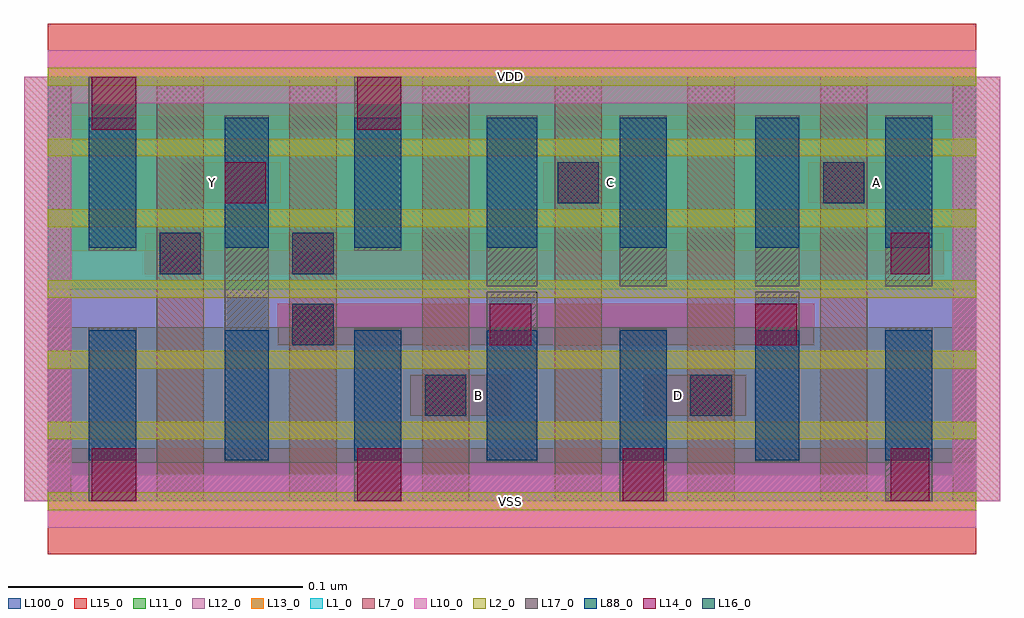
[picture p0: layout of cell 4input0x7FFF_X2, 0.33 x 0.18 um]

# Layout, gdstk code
import gdstk
lib = gdstk.Library(unit=1e-6, precision=1e-09)
def R(c, l, rs):  # rectangles x0, y0, x1, y1
    for r in rs: c.add(gdstk.rectangle(r[:2], r[2:], *l))
def A(c, l, x, y, w, h, nx, ny, dx, dy):  # array of equal rectangles
    R(c, l, [(x+i*dx, y+j*dy, x+i*dx+w, y+j*dy+h) for i in range(nx) for j in range(ny)])
def P(c, l, *ps):  # polygons
    for p in ps: c.add(gdstk.Polygon(p, *l))
L1_0 = (1, 0)
L2_0 = (2, 0)
L7_0 = (7, 0)
L10_0 = (10, 0)
L11_0 = (11, 0)
L12_0 = (12, 0)
L13_0 = (13, 0)
L14_0 = (14, 0)
L15_0 = (15, 0)
L16_0 = (16, 0)
L17_0 = (17, 0)
L88_0 = (88, 0)
L100_0 = (100, 0)

c_4input0x7fff_x2 = lib.new_cell('4input0x7FFF_X2')
R(c_4input0x7fff_x2, L1_0, [(0,0.072,0.315,0.144)])
A(c_4input0x7fff_x2, L2_0, 0, -0.003, 0.315, 0.006, 1, 7, 0, 0.024)
A(c_4input0x7fff_x2, L7_0, -0.008, 0, 0.016, 0.144, 8, 1, 0.045, 0)
P(c_4input0x7fff_x2, L10_0, [(0,-0.009),(0,0),(-0.008,0),(-0.008,0.135),(0.008,0.135),(0.008,0.009),(0.307,0.009),(0.307,0.135),(-0.008,0.135),(-0.008,0.144),(0,0.144),(0,0.153),(0.315,0.153),(0.315,0.144),(0.323,0.144),(0.323,0),(0.315,0),(0.315,-0.009)])
R(c_4input0x7fff_x2, L11_0, [(0,0.013,0.315,0.059), (0,0.085,0.315,0.131)])
R(c_4input0x7fff_x2, L12_0, [(0,0,0.315,0.072)])
R(c_4input0x7fff_x2, L13_0, [(0,0.072,0.315,0.144)])
R(c_4input0x7fff_x2, L14_0, [(0.015,0,0.03,0.018), (0.105,0,0.12,0.018), (0.195,0,0.209,0.018), (0.286,0,0.299,0.018), (0.128,0.029,0.142,0.043), (0.218,0.029,0.232,0.043), (0.083,0.053,0.097,0.067), (0.15,0.053,0.164,0.067), (0.24,0.053,0.254,0.067), (0.038,0.077,0.052,0.091), (0.083,0.077,0.097,0.091), (0.286,0.077,0.299,0.091), (0.06,0.101,0.074,0.115), (0.173,0.101,0.187,0.115), (0.263,0.101,0.277,0.115), (0.015,0.126,0.03,0.144), (0.105,0.126,0.12,0.144)])
R(c_4input0x7fff_x2, L15_0, [(0,-0.018,0.315,0.018), (0.123,0.029,0.157,0.043), (0.202,0.029,0.237,0.043), (0.078,0.053,0.26,0.067), (0.033,0.077,0.304,0.091), (0.045,0.101,0.079,0.115), (0.168,0.101,0.202,0.115), (0.258,0.101,0.292,0.115), (0,0.126,0.315,0.162)])
R(c_4input0x7fff_x2, L16_0, [(0.128,0.029,0.142,0.043), (0.218,0.029,0.232,0.043), (0.083,0.053,0.097,0.067), (0.038,0.077,0.052,0.091), (0.083,0.077,0.097,0.091), (0.173,0.101,0.187,0.115), (0.263,0.101,0.277,0.115)])
A(c_4input0x7fff_x2, L17_0, 0.014, 0, 0.016, 0.059, 4, 1, 0.09, 0)
R(c_4input0x7fff_x2, L17_0, [(0.06,0.013,0.075,0.131), (0.149,0.013,0.166,0.071), (0.24,0.013,0.255,0.071), (0.149,0.073,0.166,0.131), (0.194,0.073,0.21,0.131), (0.24,0.073,0.255,0.131), (0.284,0.073,0.3,0.131), (0.014,0.085,0.03,0.144), (0.104,0.085,0.12,0.144)])
A(c_4input0x7fff_x2, L88_0, 0.014, 0.014, 0.016, 0.044, 4, 2, 0.09, 0.072)
R(c_4input0x7fff_x2, L88_0, [(0.06,0.014,0.075,0.058), (0.149,0.014,0.166,0.058), (0.24,0.014,0.255,0.058), (0.06,0.086,0.075,0.13), (0.149,0.086,0.166,0.13), (0.24,0.086,0.255,0.13)])
R(c_4input0x7fff_x2, L100_0, [(0,0,0.315,0.144)])
c_4input0x7fff_x2.add(gdstk.Label('C', (0.191,0.108), layer=15, texttype=251))
c_4input0x7fff_x2.add(gdstk.Label('VSS', (0.157,0), layer=15, texttype=251))
c_4input0x7fff_x2.add(gdstk.Label('VDD', (0.157,0.144), layer=15, texttype=251))
c_4input0x7fff_x2.add(gdstk.Label('B', (0.146,0.036), layer=15, texttype=251))
c_4input0x7fff_x2.add(gdstk.Label('VSS', (0.157,0), layer=15, texttype=251))
c_4input0x7fff_x2.add(gdstk.Label('VDD', (0.157,0.144), layer=15, texttype=251))
c_4input0x7fff_x2.add(gdstk.Label('D', (0.214,0.036), layer=15, texttype=251))
c_4input0x7fff_x2.add(gdstk.Label('VSS', (0.157,0), layer=15, texttype=251))
c_4input0x7fff_x2.add(gdstk.Label('VDD', (0.157,0.144), layer=15, texttype=251))
c_4input0x7fff_x2.add(gdstk.Label('A', (0.281,0.108), layer=15, texttype=251))
c_4input0x7fff_x2.add(gdstk.Label('VSS', (0.157,0), layer=15, texttype=251))
c_4input0x7fff_x2.add(gdstk.Label('VDD', (0.157,0.144), layer=15, texttype=251))
c_4input0x7fff_x2.add(gdstk.Label('Y', (0.056,0.108), layer=15, texttype=251))
c_4input0x7fff_x2.add(gdstk.Label('VSS', (0.157,0), layer=15, texttype=251))
c_4input0x7fff_x2.add(gdstk.Label('VDD', (0.157,0.144), layer=15, texttype=251))
c_4input0x7fff_x2.add(gdstk.Label('VSS', (0.157,0), layer=3, texttype=251))
c_4input0x7fff_x2.add(gdstk.Label('VSS', (0.157,0), layer=3, texttype=251))
c_4input0x7fff_x2.add(gdstk.Label('VSS', (0.157,0), layer=3, texttype=251))
c_4input0x7fff_x2.add(gdstk.Label('VSS', (0.157,0), layer=3, texttype=251))
c_4input0x7fff_x2.add(gdstk.Label('VSS', (0.157,0), layer=3, texttype=251))
c_4input0x7fff_x2.add(gdstk.Label('VDD', (0.157,0.144), layer=1, texttype=251))
c_4input0x7fff_x2.add(gdstk.Label('VDD', (0.157,0.144), layer=1, texttype=251))
c_4input0x7fff_x2.add(gdstk.Label('VDD', (0.157,0.144), layer=1, texttype=251))
c_4input0x7fff_x2.add(gdstk.Label('VDD', (0.157,0.144), layer=1, texttype=251))
c_4input0x7fff_x2.add(gdstk.Label('VDD', (0.157,0.144), layer=1, texttype=251))

lib.write_gds('4input0x7FFF_X2.gds')
